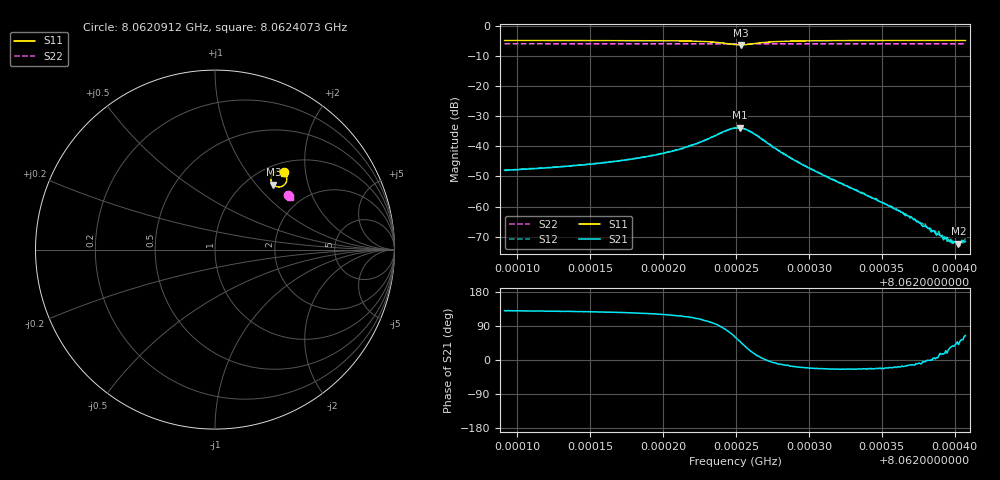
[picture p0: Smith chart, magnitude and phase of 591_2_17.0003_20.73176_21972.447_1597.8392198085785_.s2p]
#  HZ  S  RI  R  50.00
! Rohde & Schwarz Vector Network Analyzer
! Rohde-Schwarz,ZNB20-2Port,1311601062101988,3.16
! Created: UTC 3/20/2024, 11:18:38 PM
! freq[Hz]  re:S11  im:S11  re:S21  im:S21  re:S12  im:S12  re:S22  im:S22
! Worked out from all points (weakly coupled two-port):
!   401 points, 8.0620912 GHz to 8.0624073 GHz, reference 50 ohm
!   highest |S21| = -33.83 dB at 8.0622524 GHz (marker M1); lowest = -72.3 dB at 8.0624026 GHz (marker M2)
!   lowest |S11| = -6.3 dB at 8.0622532 GHz (marker M3), VSWR 2.89, Z = 65.2 + j61.6 ohm
!   |S11| at or under -10 dB: nowhere
!   |S22| runs from -5.9 to -5.9 dB; largest |S21 - S12| = 0.0013
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8.06209125e9  0.3834 0.4297  -0.00258 0.00306  -0.00237 0.00321  0.4061 0.3064
8.06214419e9  0.3889 0.4237  -0.003 0.00387  -0.00281 0.00406  0.4081 0.3035
8.06216948e9  0.3922 0.4193  -0.00332 0.00465  -0.00305 0.00489  0.4089 0.3022
8.06219713e9  0.3967 0.4106  -0.0038 0.00634  -0.00346 0.00663  0.4102 0.3004
8.06222163e9  0.4002 0.3925  -0.00384 0.0101  -0.00319 0.0104  0.4107 0.2982
8.06223822e9  0.3882 0.363  -0.000224 0.0161  0.000649 0.0162  0.4105 0.2964
8.06224928e9  0.3447 0.3503  0.00983 0.0175  0.0108 0.0172  0.4089 0.2959
8.06225244e9  0.3287 0.358  0.0132 0.0155  0.014 0.0148  0.4082 0.2964
8.06225323e9  0.325 0.361  0.0139 0.0146  0.0147 0.0139  0.4081 0.2965
8.06226114e9  0.3116 0.3991  0.0159 0.00592  0.0163 0.00501  0.4083 0.2979
8.06227141e9  0.3287 0.4287  0.0113 -0.000235  0.0115 -0.000842  0.4098 0.2985
8.06228642e9  0.3513 0.4377  0.00637 -0.00175  0.00634 -0.00218  0.4116 0.298
8.06230222e9  0.3638 0.4371  0.0038 -0.00151  0.00375 -0.00173  0.4126 0.2971
8.06235517e9  0.3802 0.4308  0.000972 -0.000346  0.000947 -0.000389  0.4149 0.2939
8.06236939e9  0.3824 0.4297  0.000654 -0.000153  0.000609 -0.000187  0.4155 0.293
8.0623765e9  0.3835 0.4288  0.000528 -9.67e-05  0.00052 -9.98e-05  0.4157 0.2927
8.06238361e9  0.3843 0.4284  0.000419 2.66e-06  0.00038 -5.02e-06  0.416 0.2924
8.06238993e9  0.3851 0.4278  0.000313 9.79e-05  0.000337 3.57e-05  0.4161 0.2919
8.06239389e9  0.3855 0.4274  0.00027 0.000123  0.00028 9.69e-05  0.4162 0.2918
8.06240258e9  0.3866 0.4267  0.000184 0.000157  0.000171 0.000174  0.4165 0.2914
8.06240495e9  0.3868 0.4266  0.000157 0.000216  0.000167 0.00022  0.4168 0.2911
8.06240732e9  0.3871 0.4263  0.000112 0.000236  0.000181 0.00023  0.4167 0.2911
